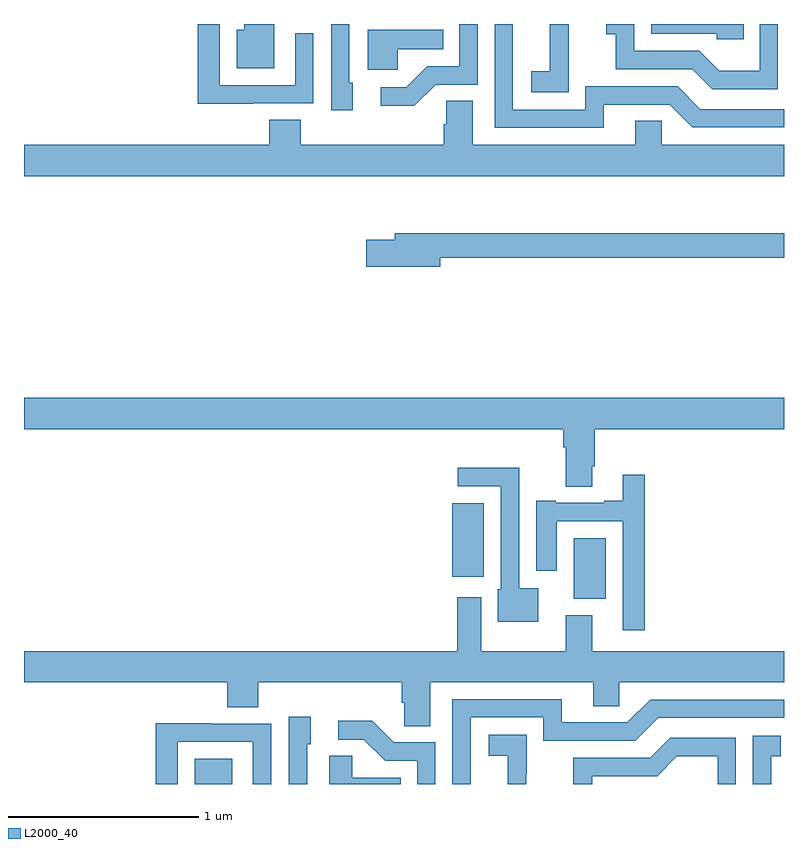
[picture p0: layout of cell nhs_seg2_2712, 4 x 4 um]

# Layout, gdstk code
import gdstk
lib = gdstk.Library(unit=1e-6, precision=1e-09)
def R(c, l, rs):  # rectangles x0, y0, x1, y1
    for r in rs: c.add(gdstk.rectangle(r[:2], r[2:], *l))
def P(c, l, *ps):  # polygons
    for p in ps: c.add(gdstk.Polygon(p, *l))
L2000_40 = (2000, 40)

nhs_seg2_2712 = lib.new_cell('nhs_seg2_2712')
R(nhs_seg2_2712, L2000_40, [(253.898,613.8,254.095,613.933), (255.893,614.774,256.063,615.094), (255.254,614.891,255.421,615.277)])
P(nhs_seg2_2712, L2000_40, [(254.207,617.382),(254.523,617.382),(254.523,617.752),(254.427,617.752),(254.427,617.478),(254.031,617.478),(254.031,617.8),(253.915,617.8),(253.915,617.381),(254.207,617.381)],
  [(254.731,617.49),(254.712,617.49),(254.712,617.8),(254.616,617.8),(254.616,617.346),(254.731,617.346)],
  [(256.968,617.8),(256.872,617.8),(256.872,617.554),(256.658,617.554),(256.554,617.658),(256.212,617.658),(256.212,617.8),(256.065,617.8),(256.065,617.747),(256.114,617.747),(256.114,617.562),(256.517,617.562),(256.622,617.457),(256.968,617.457)],
  [(256.051,617.376),(256.398,617.376),(256.518,617.256),(257,617.256),(257,617.352),(256.56,617.352),(256.44,617.472),(255.954,617.472),(255.954,617.349),(255.573,617.349),(255.573,617.8),(255.477,617.8),(255.477,617.253),(256.051,617.253)],
  [(255.867,617.647),(255.866,617.647),(255.866,617.8),(255.768,617.8),(255.768,617.78),(255.767,617.78),(255.767,617.551),(255.669,617.551),(255.669,617.441),(255.867,617.441)],
  [(255.168,617.481),(255.387,617.481),(255.387,617.8),(255.291,617.8),(255.291,617.577),(255.122,617.577),(255.011,617.466),(254.877,617.466),(254.877,617.369),(255.055,617.369)],
  [(256.787,617.8),(256.302,617.8),(256.302,617.748),(256.647,617.748),(256.647,617.721),(256.787,617.721)],
  [(254.317,617.8),(254.159,617.8),(254.159,617.77),(254.12,617.77),(254.12,617.567),(254.317,617.567)],
  [(254.967,617.666),(255.206,617.666),(255.206,617.77),(254.81,617.77),(254.81,617.558),(254.967,617.558)],
  [(257,617.164),(256.356,617.164),(256.356,617.291),(256.217,617.291),(256.217,617.164),(255.361,617.164),(255.361,617.396),(255.222,617.396),(255.222,617.273),(255.209,617.273),(255.209,617.164),(254.456,617.164),(254.456,617.297),(254.291,617.297),(254.291,617.164),(253,617.164),(253,617),(257,617)],
  [(255.19,616.57),(257,616.57),(257,616.699),(254.951,616.699),(254.951,616.665),(254.802,616.665),(254.802,616.523),(255.19,616.523)],
  [(255.991,615.472),(256.004,615.472),(256.004,615.668),(257,615.668),(257,615.832),(253,615.832),(253,615.668),(255.839,615.668),(255.839,615.572),(255.851,615.572),(255.851,615.364),(255.991,615.364)],
  [(255.706,614.83),(255.606,614.83),(255.606,615.464),(255.282,615.464),(255.282,615.366),(255.51,615.366),(255.51,614.826),(255.494,614.826),(255.494,614.654),(255.706,614.654)],
  [(256.268,615.427),(256.151,615.427),(256.151,615.292),(256.055,615.292),(256.055,615.279),(255.799,615.279),(255.799,615.292),(255.695,615.292),(255.695,614.922),(255.805,614.922),(255.805,615.183),(256.152,615.183),(256.152,614.61),(256.268,614.61)],
  [(255.139,614.336),(255.995,614.336),(255.995,614.209),(256.134,614.209),(256.134,614.336),(257,614.336),(257,614.5),(255.991,614.5),(255.991,614.689),(255.851,614.689),(255.851,614.5),(255.406,614.5),(255.406,614.782),(255.281,614.782),(255.281,614.5),(253,614.5),(253,614.336),(254.069,614.336),(254.069,614.203),(254.234,614.203),(254.234,614.336),(254.987,614.336),(254.987,614.227),(255,614.227),(255,614.104),(255.139,614.104)],
  [(255.351,614.151),(255.732,614.151),(255.732,614.028),(256.218,614.028),(256.338,614.148),(257,614.148),(257,614.244),(256.296,614.244),(256.176,614.124),(255.829,614.124),(255.829,614.247),(255.255,614.247),(255.255,613.8),(255.351,613.8)],
  [(254.49,614.01),(254.509,614.01),(254.509,614.155),(254.394,614.155),(254.394,613.8),(254.49,613.8)],
  [(255.165,614.019),(254.946,614.019),(254.833,614.132),(254.655,614.132),(254.655,614.034),(254.789,614.034),(254.9,613.923),(255.069,613.923),(255.069,613.8),(255.165,613.8)],
  [(253.809,614.022),(254.205,614.022),(254.205,613.8),(254.301,613.8),(254.301,614.118),(253.985,614.118),(253.985,614.12),(253.693,614.12),(253.693,613.8),(253.809,613.8)],
  [(255.644,613.853),(255.645,613.853),(255.645,614.059),(255.447,614.059),(255.447,613.949),(255.545,613.949),(255.545,613.8),(255.644,613.8)],
  [(256.933,613.947),(256.982,613.947),(256.982,614.053),(256.836,614.053),(256.836,613.8),(256.933,613.8)],
  [(255.99,613.842),(256.332,613.842),(256.436,613.946),(256.65,613.946),(256.65,613.8),(256.746,613.8),(256.746,614.043),(256.4,614.043),(256.295,613.938),(255.892,613.938),(255.892,613.8),(255.99,613.8)],
  [(254.984,613.834),(254.727,613.834),(254.727,613.949),(254.606,613.949),(254.606,613.8),(254.984,613.8)])

lib.write_gds('nhs_seg2_2712.gds')
